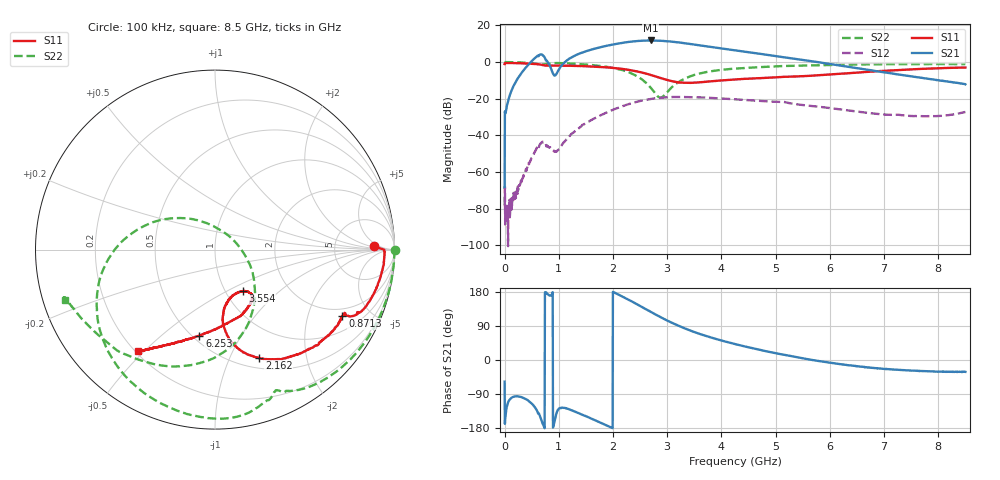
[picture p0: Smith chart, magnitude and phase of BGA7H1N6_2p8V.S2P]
! (c) 2014 Infineon Technologies AG
! BGA7M1N6 - Silicon Germanium Low Noise Amplifier for LTE
! 03 October 2014
! Special Application Board
! C1 = L1 = 0 Ohm
! C2 = 100 nF
! Vcc = 2.8V
! RF input and output lines de-embedded
! Port 1 reference plane: LNA input AI (pin 5)
! Port 2 reference plane: LNA output AO (pin 3)
! Network Data:
! Measured BGA7H1N6 device level s-parameters
# Hz S dB R 50
!Freq  MagS11  AngS11  MagS21  AngS21  MagS12  AngS12  MagS22  AngS22
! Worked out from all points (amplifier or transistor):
!   1601 points, 100 kHz to 8.5 GHz, reference 50 ohm
!   highest |S21| = 11.8 dB at 2.694 GHz (marker M1)
!   |S21| within 3 dB of that: 1.869 GHz to 3.676 GHz (1.807 GHz wide, 65.2 % of centre)
!   unconditionally stable (mu >= 1): 4.653 MHz to 10.49 MHz; 10.93 MHz to end of sweep
!   at 1.413 GHz: K = 2.12, MAG = 14.1 dB, |S12| = -35.2 dB
!   at 4.25 GHz: K = 1.45, MAG = 9.4 dB, |S12| = -20.3 dB
!   at 8.5 GHz: K = 4.64, MAG = -2.1 dB, |S12| = -27.2 dB
!   lowest NFmin = 0.57 dB at 1.8 GHz
!   S11 on the Smith chart (normalised r, x): 100 kHz: 16, +3; 871.3 MHz: 1.62, -3.35; 2.162 GHz: 0.62, -1.30; 3.554 GHz: 1.20, -0.60; 6.253 GHz: 0.54, -0.68; 8.5 GHz: 0.21, -0.48
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100000  -1.08 1.2  -68.37 -56.9  -78.35 70.8  0.01 -0.1
4.791194e7  -0.49 -1.7  -23.29 -120.1  -78.64 84.9  -0.01 -5.3
2.232224e8  -0.57 -8.4  -9.83 -95.9  -70.98 145.8  -0.10 -24.8
4.25095e8  -0.74 -15.7  -1.84 -106.1  -56.78 -176.0  -0.38 -45.9
5.632184e8  -0.97 -21.4  2.32 -125.6  -48.85 174.0  -0.83 -59.4
6.907169e8  -1.54 -26.4  4.06 -163.5  -43.72 145.1  -1.37 -66.7
7.704034e8  -1.84 -26.1  0.91 178.2  -46.10 122.0  -1.03 -70.9
8.713398e8  -1.93 -27.5  -4.71 172.9  -47.39 124.9  -0.65 -78.3
1.0254e9  -1.93 -30.7  -2.84 -126.4  -46.86 168.1  -0.54 -92.3
1.418521e9  -2.13 -42.1  5.09 -143.7  -34.96 176.1  -1.15 -121.1
1.785079e9  -2.70 -54.1  8.28 -166.2  -28.89 158.2  -2.14 -145.3
2.162262e9  -3.71 -67.7  10.47 168.3  -24.24 139.2  -4.29 -173.0
2.433196e9  -5.03 -77.4  11.46 147.8  -21.73 122.8  -7.58 161.8
2.693506e9  -6.99 -82.9  11.83 127.2  -20.12 105.9  -13.97 123.8
2.836942e9  -8.33 -83.5  11.72 116.0  -19.57 96.8  -19.00 73.4
3.129126e9  -10.73 -75.4  11.02 95.3  -19.07 79.7  -12.58 -29.2
3.554121e9  -11.10 -56.4  9.35 71.1  -19.24 60.2  -6.53 -68.5
4.25005e9  -9.46 -52.0  6.43 42.1  -20.33 39.3  -3.55 -103.5
5.668471e9  -7.43 -84.2  0.48 0.3  -23.99 15.5  -1.77 -146.8
6.252839e9  -6.24 -100.3  -2.18 -12.1  -26.10 14.8  -1.44 -155.8
7.086892e9  -4.60 -116.1  -5.96 -24.2  -28.76 28.3  -1.15 -161.6
8.5e9  -2.97 -127.3  -12.12 -31.1  -27.23 69.7  -1.10 -161.3
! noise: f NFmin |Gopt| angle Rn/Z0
1.8e+09  0.5666  0.5679  45.29  0.1695
1.9e+09  0.5709  0.5459  46.18  0.1695
2.1e+09  0.5874  0.5532  48.18  0.1765
2.2e+09  0.6044  0.5492  50.89  0.1789
2.34e+09  0.6034  0.5265  50.17  0.1729
2.38e+09  0.6238  0.5102  52  0.1742
2.5e+09  0.6283  0.5349  54.54  0.1752
2.54e+09  0.64  0.5077  55.47  0.1812
2.62e+09  0.6472  0.5297  56.64  0.1741
2.7e+09  0.6603  0.511  57.38  0.1756
